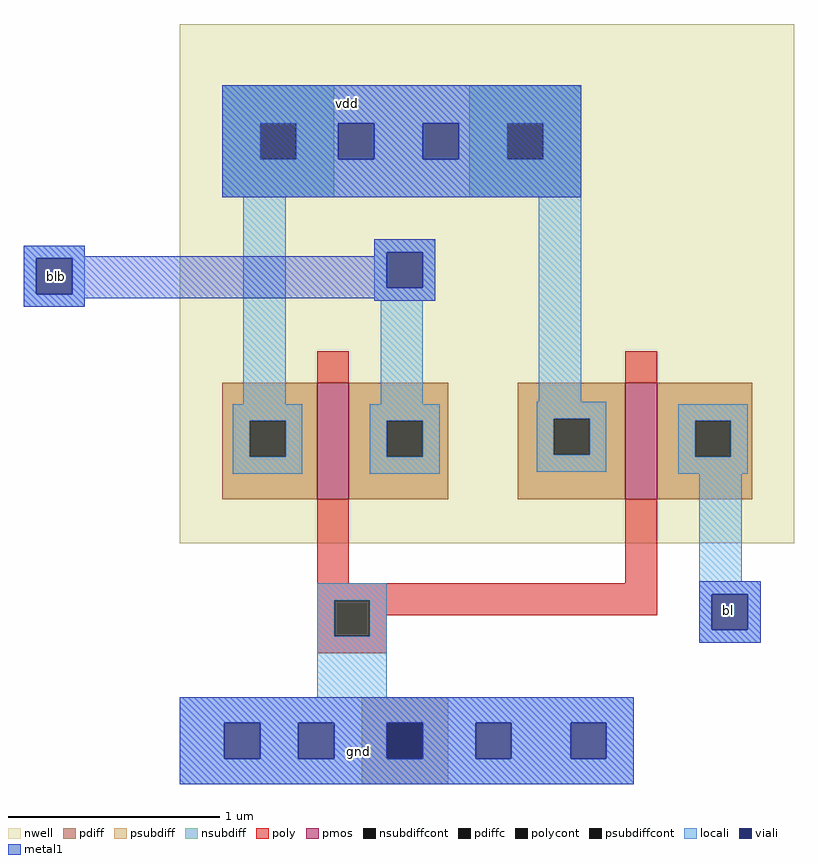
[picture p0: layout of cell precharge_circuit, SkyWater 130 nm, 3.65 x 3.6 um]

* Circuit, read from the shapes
.subckt precharge_circuit bl gnd vdd blb
XM1 blb gnd vdd vdd sky130_fd_pr__pfet_01v8 w=0.55 l=0.15
XM2 bl gnd vdd vdd sky130_fd_pr__pfet_01v8 w=0.55 l=0.15
.ends

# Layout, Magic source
magic
tech sky130A
<< nwell >>
rect 5 39 296 285
<< pmos >>
rect 70 60 85 115
rect 216 60 231 115
<< pdiff >>
rect 25 97 70 115
rect 25 80 38 97
rect 55 80 70 97
rect 25 60 70 80
rect 85 97 132 115
rect 85 80 103 97
rect 120 80 132 97
rect 85 60 132 80
rect 165 98 216 115
rect 165 81 182 98
rect 199 81 216 98
rect 165 60 216 81
rect 231 97 276 115
rect 231 80 249 97
rect 266 80 276 97
rect 231 60 276 80
<< pdiffc >>
rect 38 80 55 97
rect 103 80 120 97
rect 182 81 199 98
rect 249 80 266 97
<< psubdiff >>
rect 91 -46 132 -34
rect 91 -63 103 -46
rect 120 -63 132 -46
rect 91 -75 132 -63
<< nsubdiff >>
rect 25 238 78 256
rect 25 221 43 238
rect 60 221 78 238
rect 25 203 78 221
rect 142 238 195 256
rect 142 221 160 238
rect 177 221 195 238
rect 142 203 195 221
<< psubdiffcont >>
rect 103 -63 120 -46
<< nsubdiffcont >>
rect 43 221 60 238
rect 160 221 177 238
<< poly >>
rect 70 115 85 130
rect 216 115 231 130
rect 70 20 85 60
rect 216 20 231 60
rect 70 12 231 20
rect 70 -5 78 12
rect 95 5 231 12
rect 95 -5 103 5
rect 70 -13 103 -5
<< polycont >>
rect 78 -5 95 12
<< locali >>
rect 25 238 195 256
rect 25 221 43 238
rect 60 221 80 238
rect 97 221 120 238
rect 137 221 160 238
rect 177 221 195 238
rect 25 203 195 221
rect -69 174 -40 180
rect -69 157 -63 174
rect -46 157 -40 174
rect -69 151 -40 157
rect 35 105 55 203
rect 97 177 126 183
rect 97 160 103 177
rect 120 160 126 177
rect 97 154 126 160
rect 100 105 120 154
rect 175 106 195 203
rect 30 97 63 105
rect 30 80 38 97
rect 55 80 63 97
rect 30 72 63 80
rect 95 97 128 105
rect 95 80 103 97
rect 120 80 128 97
rect 95 72 128 80
rect 174 98 207 106
rect 174 81 182 98
rect 199 81 207 98
rect 174 73 207 81
rect 241 97 274 105
rect 241 80 249 97
rect 266 80 274 97
rect 241 72 274 80
rect 251 21 271 72
rect 70 12 103 20
rect 70 -5 78 12
rect 95 -5 103 12
rect 70 -34 103 -5
rect 251 15 280 21
rect 251 -2 257 15
rect 274 -2 280 15
rect 251 -8 280 -2
rect 5 -46 220 -34
rect 5 -63 26 -46
rect 43 -63 61 -46
rect 78 -63 103 -46
rect 120 -63 145 -46
rect 162 -63 190 -46
rect 207 -63 220 -46
rect 5 -75 220 -63
<< viali >>
rect 80 221 97 238
rect 120 221 137 238
rect -63 157 -46 174
rect 103 160 120 177
rect 257 -2 274 15
rect 26 -63 43 -46
rect 61 -63 78 -46
rect 103 -63 120 -46
rect 145 -63 162 -46
rect 190 -63 207 -46
<< metal1 >>
rect 25 238 195 256
rect 25 221 80 238
rect 97 221 120 238
rect 137 221 195 238
rect 25 203 195 221
rect -69 175 -40 180
rect 97 177 126 183
rect 97 175 103 177
rect -69 174 103 175
rect -69 157 -63 174
rect -46 160 103 174
rect 120 160 126 177
rect -46 157 126 160
rect -69 155 126 157
rect -69 151 -40 155
rect 97 154 126 155
rect 251 15 280 21
rect 251 -2 257 15
rect 274 -2 280 15
rect 251 -8 280 -2
rect 5 -46 220 -34
rect 5 -63 26 -46
rect 43 -63 61 -46
rect 78 -63 103 -46
rect 120 -63 145 -46
rect 162 -63 190 -46
rect 207 -63 220 -46
rect 5 -75 220 -63
<< labels >>
flabel locali s 261 3 269 11 0 FreeSans 200 0 0 0 bl
port 2 nsew
flabel metal1 s 81 -71 98 -48 0 FreeSans 200 0 0 0 gnd
port 3 nsew
flabel metal1 s 62 241 107 254 0 FreeSans 200 0 0 0 vdd
port 4 nsew
flabel metal1 s -58 162 -49 169 0 FreeSans 200 0 0 0 blb
port 5 nsew
<< end >>
